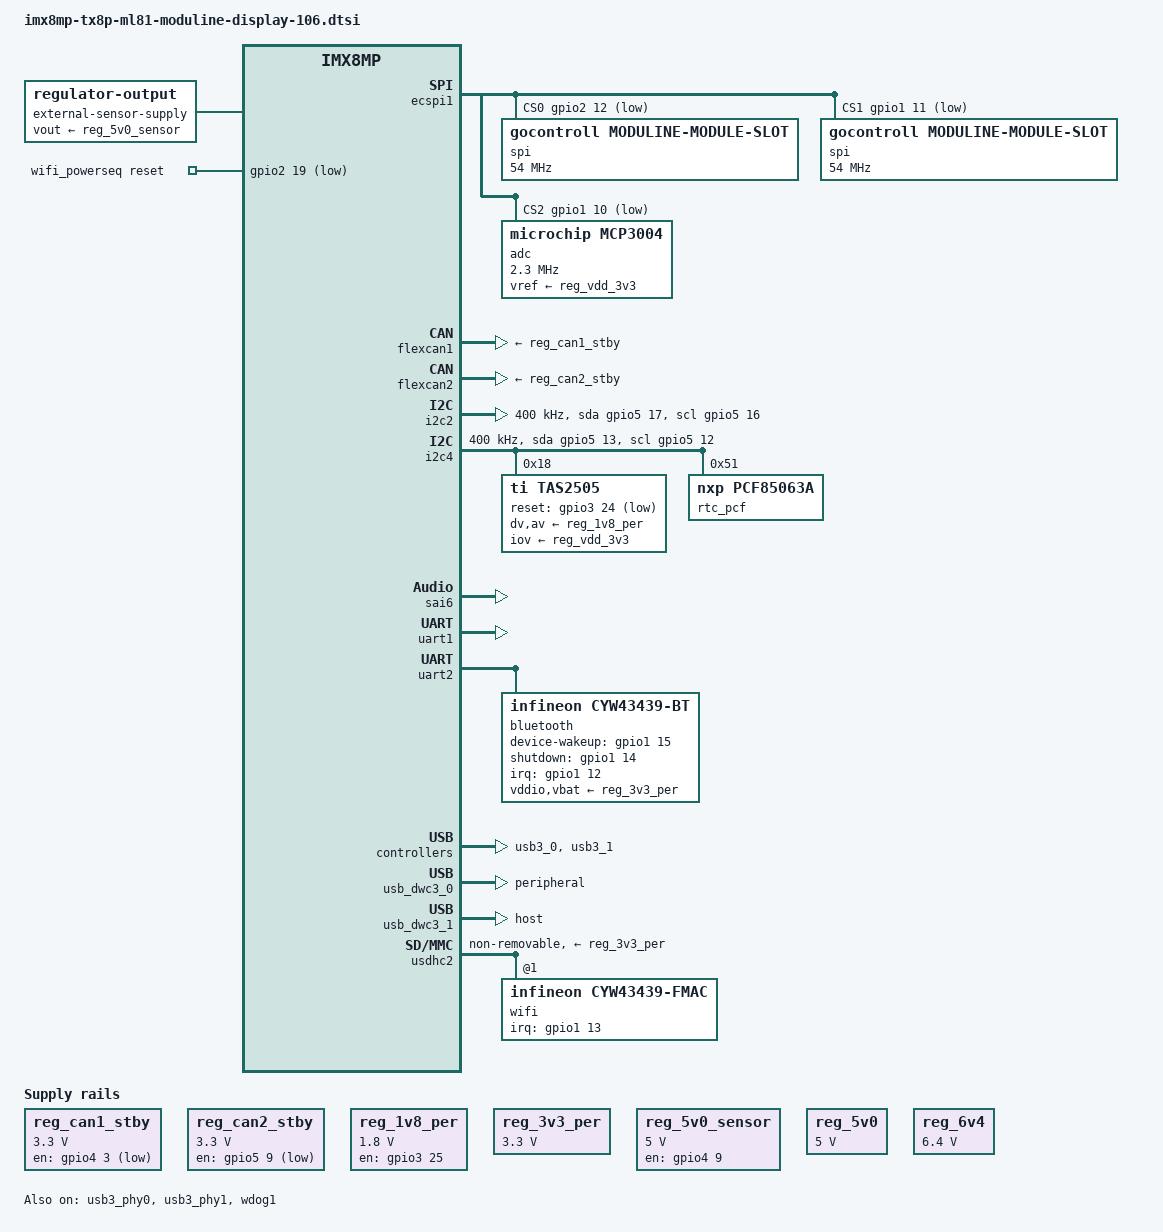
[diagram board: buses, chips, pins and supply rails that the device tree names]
// SPDX-License-Identifier: (GPL-2.0 OR MIT)
/*
 * Copyright 2025 GOcontroll B.V.
 * Author: Maud Spierings <maudspierings@gocontroll.com>
 */

#include "imx8mp-tx8p-ml81.dtsi"

/ {
	chassis-type = "embedded";
	compatible = "gocontroll,moduline-display", "fsl,imx8mp";
	hardware =  "Moduline Display V1.06";

	aliases {
		ethernet0 = &eqos;
		mmc0 = &usdhc3;
		mmc1 = &usdhc2;
		spi0 = &ecspi2; /* spidev number compatibility */
		spi1 = &ecspi1; /* spidev number compatibility */
		can0 = &flexcan1;
		can1 = &flexcan2;
		rtc0 = &rtc_pcf; /* i2c rtc is the main rtc */
		rtc1 = &snvs_rtc;
	};

	chosen {
		stdout-path = "serial0:115200n8";
	};

	external-sensor-supply {
		compatible = "regulator-output";
		vout-supply = <&reg_5v0_sensor>;
	};

	reg_can1_stby: regulator-can1-stby {
		compatible = "regulator-fixed";
		regulator-name = "can1-stby";
		pinctrl-names = "default";
		pinctrl-0 = <&pinctrl_flexcan1_reg>;
		regulator-min-microvolt = <3300000>;
		regulator-max-microvolt = <3300000>;
		gpio = <&gpio4 3 GPIO_ACTIVE_LOW>;
	};

	reg_can2_stby: regulator-can2-stby {
		compatible = "regulator-fixed";
		regulator-name = "can2-stby";
		pinctrl-names = "default";
		pinctrl-0 = <&pinctrl_flexcan2_reg>;
		regulator-min-microvolt = <3300000>;
		regulator-max-microvolt = <3300000>;
		gpio = <&gpio5 9 GPIO_ACTIVE_LOW>;
	};

	reg_1v8_per: regulator-1v8-per {
		compatible = "regulator-fixed";
		regulator-name = "1v8-per";
		regulator-min-microvolt = <1800000>;
		regulator-max-microvolt = <1800000>;
		pinctrl-names = "default";
		pinctrl-0 = <&pinctrl_reg_1v8>;
		gpio = <&gpio3 25 GPIO_ACTIVE_HIGH>;
		enable-active-high;
		power-supply = <&reg_3v3_per>;
	};

	reg_3v3_per: regulator-3v3-per {
		compatible = "regulator-fixed";
		regulator-name = "3v3-per";
		regulator-min-microvolt = <3300000>;
		regulator-max-microvolt = <3300000>;
		regulator-always-on;
		power-supply = <&reg_6v4>;
	};

	reg_5v0_sensor: regulator-5v0-sensor {
		compatible = "regulator-fixed";
		regulator-name = "5v0-supply-external-sensor";
		regulator-min-microvolt = <5000000>;
		regulator-max-microvolt = <5000000>;
		pinctrl-names = "default";
		pinctrl-0 = <&pinctrl_reg_5v0_sensor>;
		gpio = <&gpio4 9 GPIO_ACTIVE_HIGH>;
		enable-active-high;
	};

	reg_5v0: regulator-5v0 {
		compatible = "regulator-fixed";
		regulator-name = "5v0";
		regulator-min-microvolt = <5000000>;
		regulator-max-microvolt = <5000000>;
		regulator-always-on;
		power-supply = <&reg_6v4>;
	};

	reg_6v4: regulator-6v4 {
		compatible = "regulator-fixed";
		regulator-name = "6v4";
		regulator-min-microvolt = <6400000>;
		regulator-max-microvolt = <6400000>;
		regulator-always-on;
	};

	sound {
		compatible = "simple-audio-card";
		simple-audio-card,name = "tas2505-audio";
		simple-audio-card,format = "i2s";
		simple-audio-card,frame-master = <&cpudai>;
		simple-audio-card,bitclock-master = <&cpudai>;
		simple-audio-card,widgets =
		"Speaker", "Speaker External";
		simple-audio-card,routing =
		"Speaker", "DAC";

		cpudai: simple-audio-card,cpu {
			sound-dai = <&sai6>;
		};

		simple-audio-card,codec {
			sound-dai = <&tas2505>;
		};
	};

	wifi_powerseq: wifi-powerseq {
		compatible = "mmc-pwrseq-simple";
		pinctrl-names = "default";
		pinctrl-0 = <&pinctrl_wl_reg>;
		post-power-on-delay-ms = <100>;
		power-off-delay-us = <500000>;
		reset-gpios = <&gpio2 19 GPIO_ACTIVE_LOW>;
	};
};

&ecspi1 {
	pinctrl-names = "default";
	pinctrl-0 = <&pinctrl_ecspi1>;
	cs-gpios = <
	&gpio2 12 GPIO_ACTIVE_LOW
	&gpio1 11 GPIO_ACTIVE_LOW
	&gpio1 10 GPIO_ACTIVE_LOW
	>;
	status = "okay";

	/* Module slot 1 */
	spi@0 {
		compatible = "gocontroll,moduline-module-slot";
		reg = <0>;
		spi-max-frequency = <54000000>;
	};

	/* Module slot 2 */
	spi@1 {
		compatible = "gocontroll,moduline-module-slot";
		reg = <1>;
		spi-max-frequency = <54000000>;
	};

	adc@2 {
		compatible = "microchip,mcp3004";
		reg = <2>;
		spi-max-frequency = <2300000>;
		vref-supply = <&reg_vdd_3v3>;
	};
};

&flexcan1 {
	pinctrl-names = "default";
	pinctrl-0 = <&pinctrl_flexcan1>;
	xceiver-supply = <&reg_can1_stby>;
	status = "okay";
};

&flexcan2 {
	pinctrl-names = "default";
	pinctrl-0 = <&pinctrl_flexcan2>;
	xceiver-supply = <&reg_can2_stby>;
	status = "okay";
};

/* I2C2 bus to modules */
&i2c2 {
	clock-frequency = <400000>;
	pinctrl-names = "default", "gpio";
	pinctrl-0 = <&pinctrl_i2c2>;
	pinctrl-1 = <&pinctrl_i2c2_gpio>;
	sda-gpios = <&gpio5 17 (GPIO_ACTIVE_HIGH | GPIO_OPEN_DRAIN)>;
	scl-gpios = <&gpio5 16 (GPIO_ACTIVE_HIGH | GPIO_OPEN_DRAIN)>;
	status = "okay";
};

&i2c4 {
	clock-frequency = <400000>;
	pinctrl-names = "default", "gpio";
	pinctrl-0 = <&pinctrl_i2c4>;
	pinctrl-1 = <&pinctrl_i2c4_gpio>;
	sda-gpios = <&gpio5 13 (GPIO_ACTIVE_HIGH | GPIO_OPEN_DRAIN)>;
	scl-gpios = <&gpio5 12 (GPIO_ACTIVE_HIGH | GPIO_OPEN_DRAIN)>;
	status = "okay";

	tas2505: tas2505@18 {
		compatible = "ti,tas2505";
		reg = <0x18>;
		pinctrl-names = "default";
		pinctrl-0 = <&pinctrl_tas_reset>;
		reset-gpios = <&gpio3 24 GPIO_ACTIVE_LOW>;
		#sound-dai-cells = <0>;

		dv-supply = <&reg_1v8_per>;
		iov-supply = <&reg_vdd_3v3>;
		av-supply = <&reg_1v8_per>;

		clocks = <&clk IMX8MP_CLK_AUDIOMIX_SAI6_MCLK1>;
		clock-names = "mclk";
		aic32x4-gpio-func= <
			0xff
			0xff
			0xff
			0xff
			0xff
		>;
	};

	rtc_pcf: rtc@51 {
		compatible = "nxp,pcf85063a";
		reg = <0x51>;
		quartz-load-femtofarads = <7000>;

		clock {
			compatible = "fixed-clock";
			#clock-cells = <0>;
			clock-frequency = <32768>;
		};
	};
};

/* tas2505 */
&sai6 {
	pinctrl-names = "default";
	pinctrl-0 = <&pinctrl_sai6>;
	status = "okay";
	assigned-clocks = <&clk IMX8MP_CLK_SAI6>;
	assigned-clock-parents = <&clk IMX8MP_AUDIO_PLL1_OUT>;
	assigned-clock-rates = <12288000>;
	fsl,sai-mclk-direction-output;
};

/* debug/external */
&uart1 {
	pinctrl-names = "default";
	pinctrl-0 = <&pinctrl_uart1>;
	status = "okay";
};

&uart2 {
	pinctrl-names = "default";
	pinctrl-0 = <&pinctrl_uart2>;
	uart-has-rtscts;
	status = "okay";

	/* muRata 1YN/1DX */
	bluetooth {
		compatible = "infineon,cyw43439-bt", "brcm,bcm4329-bt";
		max-speed = <921600>;
		pinctrl-names = "default";
		pinctrl-0 = <&pinctrl_bt>;
		device-wakeup-gpios = <&gpio1 15 GPIO_ACTIVE_HIGH>;
		shutdown-gpios = <&gpio1 14 GPIO_ACTIVE_HIGH>;
		interrupt-parent = <&gpio1>;
		interrupts = <12 IRQ_TYPE_EDGE_FALLING>;
		interrupt-names = "host-wakeup";
		vddio-supply = <&reg_3v3_per>;
		vbat-supply = <&reg_3v3_per>;
	};
};

&usb3_0 {
	status = "okay";
};

&usb3_1 {
	status = "okay";
};

&usb3_phy0 {
	status = "okay";
};

&usb3_phy1 {
	status = "okay";
};

&usb_dwc3_0 {
	dr_mode = "peripheral";
};

&usb_dwc3_1 {
	dr_mode = "host";
};

&usdhc2 {
	max-frequency = <50000000>;
	assigned-clocks = <&clk IMX8MP_CLK_USDHC2>;
	assigned-clock-rates = <50000000>;
	#address-cells = <1>;
	#size-cells = <0>;
	pinctrl-names = "default";
	pinctrl-0 = <&pinctrl_usdhc2>;
	mmc-pwrseq = <&wifi_powerseq>;
	vmmc-supply = <&reg_3v3_per>;

	cap-power-off-card;
	keep-power-in-suspend;
	non-removable;
	sd-uhs-sdr25;

	status = "okay";

	/* muRata 1YN/1DX */
	wifi@1 {
		compatible = "infineon,cyw43439-fmac", "brcm,bcm4329-fmac";
		reg = <1>;
		brcm,board-type = "GOcontroll,moduline";
		pinctrl-names = "default";
		pinctrl-0 = <&pinctrl_wl_int>;
		interrupt-parent = <&gpio1>;
		interrupts = <13 IRQ_TYPE_LEVEL_LOW>;
		interrupt-names = "host-wake";
	};
};

&wdog1 {
	pinctrl-names = "default";
	pinctrl-0 = <&pinctrl_wdog>;
	fsl,ext-reset-output;
	status = "okay";
};

&iomuxc {
	pinctrl_reg_1v8: reg-1v8-grp {
		fsl,pins = <
			MX8MP_IOMUXC_SAI5_MCLK__GPIO3_IO25 /* COM pin 144 */
			MX8MP_DSE_X1
		>;
	};

	pinctrl_reg_5v0_sensor: reg-5v0-sensorgrp {
		fsl,pins = <
			MX8MP_IOMUXC_SAI1_RXD7__GPIO4_IO09 /* COM pin 108 */
			MX8MP_DSE_X1
		>;
	};

	pinctrl_tas_reset: tasresetgrp {
		fsl,pins = <
			MX8MP_IOMUXC_SAI5_RXD3__GPIO3_IO24 /* COM pin 143 */
			MX8MP_DSE_X1
		>;
	};

	pinctrl_bt: btgrp {
		fsl,pins = <
			MX8MP_IOMUXC_GPIO1_IO14__GPIO1_IO14 /* COM pin 27 */
			MX8MP_DSE_X1
			MX8MP_IOMUXC_GPIO1_IO12__GPIO1_IO12 /* COM pin 34 */
			(MX8MP_PULL_UP | MX8MP_PULL_ENABLE | MX8MP_HYS_SCHMITT)
			MX8MP_IOMUXC_GPIO1_IO15__GPIO1_IO15 /* COM pin 28 */
			MX8MP_DSE_X1
		>;
	};

	pinctrl_ecspi1: ecspi1grp {
		fsl,pins = <
		MX8MP_IOMUXC_ECSPI1_MOSI__ECSPI1_MOSI /* COM pin 46 */
		MX8MP_DSE_X4
		MX8MP_IOMUXC_ECSPI1_MISO__ECSPI1_MISO /* COM pin 47 */
		(MX8MP_DSE_X4 | MX8MP_HYS_SCHMITT)
		MX8MP_IOMUXC_ECSPI1_SCLK__ECSPI1_SCLK /* COM pin 48 */
		MX8MP_DSE_X4
		MX8MP_IOMUXC_SD2_CD_B__GPIO2_IO12 /* COM pin 51 */
		MX8MP_DSE_X1
		MX8MP_IOMUXC_GPIO1_IO11__GPIO1_IO11 /* COM pin 162 */
		MX8MP_DSE_X1
		MX8MP_IOMUXC_GPIO1_IO10__GPIO1_IO10 /* COM pin 161 */
		MX8MP_DSE_X1
		>;
	};

	pinctrl_flexcan1: flexcan1grp {
		fsl,pins = <
			 MX8MP_IOMUXC_SPDIF_RX__CAN1_RX /* COM pin 81 */
			 (MX8MP_DSE_X2 | MX8MP_FSEL_FAST | MX8MP_PULL_UP | MX8MP_PULL_ENABLE)
			 MX8MP_IOMUXC_SPDIF_TX__CAN1_TX /* COM pin 76 */
			 (MX8MP_DSE_X2 | MX8MP_FSEL_FAST | MX8MP_PULL_UP | MX8MP_PULL_ENABLE)
		>;
	};

	pinctrl_flexcan1_reg: flexcan1reggrp {
		fsl,pins = <
			MX8MP_IOMUXC_SAI1_RXD1__GPIO4_IO03 /* COM pin 101 */
			(MX8MP_DSE_X2 | MX8MP_FSEL_FAST | MX8MP_PULL_UP | MX8MP_PULL_ENABLE)
		>;
	};

	pinctrl_flexcan2: flexcan2grp {
		fsl,pins = <
			 MX8MP_IOMUXC_UART3_TXD__CAN2_RX /* COM pin 61 */
			 (MX8MP_DSE_X2 | MX8MP_FSEL_FAST | MX8MP_PULL_UP | MX8MP_PULL_ENABLE)
			 MX8MP_IOMUXC_UART3_RXD__CAN2_TX /* COM pin 62 */
			 (MX8MP_DSE_X2 | MX8MP_FSEL_FAST | MX8MP_PULL_UP | MX8MP_PULL_ENABLE)
		>;
	};

	pinctrl_flexcan2_reg: flexcan2reggrp {
		fsl,pins = <
			MX8MP_IOMUXC_ECSPI1_SS0__GPIO5_IO09 /* COM pin 44 */
			(MX8MP_DSE_X2 | MX8MP_FSEL_FAST | MX8MP_PULL_UP | MX8MP_PULL_ENABLE)
		>;
	};

	pinctrl_i2c2: i2c2grp {
		fsl,pins = <
			MX8MP_IOMUXC_I2C2_SCL__I2C2_SCL /* COM pin 41 */
			(MX8MP_DSE_X6 | MX8MP_PULL_UP | MX8MP_HYS_SCHMITT | MX8MP_PULL_ENABLE | MX8MP_SION)
			MX8MP_IOMUXC_I2C2_SDA__I2C2_SDA /* COM pin 40 */
			(MX8MP_DSE_X6 | MX8MP_PULL_UP | MX8MP_HYS_SCHMITT | MX8MP_PULL_ENABLE | MX8MP_SION)
		>;
	};

	pinctrl_i2c2_gpio: i2c2-gpiogrp {
		fsl,pins = <
			MX8MP_IOMUXC_I2C2_SCL__GPIO5_IO16 /* COM pin 41 */
			(MX8MP_DSE_X6 | MX8MP_PULL_UP | MX8MP_HYS_SCHMITT | MX8MP_PULL_ENABLE | MX8MP_SION)
			MX8MP_IOMUXC_I2C2_SDA__GPIO5_IO17 /* COM pin 40 */
			(MX8MP_DSE_X6 | MX8MP_PULL_UP | MX8MP_HYS_SCHMITT | MX8MP_PULL_ENABLE | MX8MP_SION)
		>;
	};

	pinctrl_i2c4: i2c4grp {
		fsl,pins = <
			MX8MP_IOMUXC_ECSPI2_MISO__I2C4_SCL /* COM pin 70 */
			(MX8MP_DSE_X6 | MX8MP_PULL_UP | MX8MP_HYS_SCHMITT | MX8MP_PULL_ENABLE | MX8MP_SION)
			MX8MP_IOMUXC_ECSPI2_SS0__I2C4_SDA /* COM pin 69 */
			(MX8MP_DSE_X6 | MX8MP_PULL_UP | MX8MP_HYS_SCHMITT | MX8MP_PULL_ENABLE | MX8MP_SION)
		>;
	};

	pinctrl_i2c4_gpio: i2c4-gpiogrp {
		fsl,pins = <
			MX8MP_IOMUXC_ECSPI2_MISO__GPIO5_IO12 /* COM pin 70 */
			(MX8MP_DSE_X4 | MX8MP_PULL_UP | MX8MP_HYS_SCHMITT | MX8MP_PULL_ENABLE | MX8MP_SION)
			MX8MP_IOMUXC_ECSPI2_SS0__GPIO5_IO13 /* COM pin 69 */
			(MX8MP_DSE_X4 | MX8MP_PULL_UP | MX8MP_HYS_SCHMITT | MX8MP_PULL_ENABLE | MX8MP_SION)
		>;
	};

	pinctrl_sai6: sai6grp {
		fsl,pins = <
			MX8MP_IOMUXC_SAI1_TXD6__AUDIOMIX_SAI6_TX_SYNC /* COM pin 95 */
			(MX8MP_DSE_X6 | MX8MP_FSEL_FAST | MX8MP_PULL_UP | MX8MP_HYS_SCHMITT)
			MX8MP_IOMUXC_SAI1_RXD4__AUDIOMIX_SAI6_TX_BCLK /* COM pin 105 */
			(MX8MP_DSE_X6 | MX8MP_FSEL_FAST | MX8MP_PULL_UP | MX8MP_HYS_SCHMITT)
			MX8MP_IOMUXC_SAI1_TXD5__AUDIOMIX_SAI6_TX_DATA00 /* COM pin 110 */
			(MX8MP_DSE_X6 | MX8MP_FSEL_FAST | MX8MP_PULL_UP | MX8MP_HYS_SCHMITT)
			MX8MP_IOMUXC_SAI1_TXD7__AUDIOMIX_SAI6_MCLK /* COM pin 96 */
			(MX8MP_DSE_X6 | MX8MP_FSEL_FAST | MX8MP_PULL_UP | MX8MP_HYS_SCHMITT)
			MX8MP_IOMUXC_SAI1_RXD5__AUDIOMIX_SAI6_RX_DATA00 /* COM pin 106 */
			(MX8MP_DSE_X6 | MX8MP_FSEL_FAST | MX8MP_PULL_UP | MX8MP_HYS_SCHMITT)
		>;
	};

	pinctrl_uart1: uart1grp {
		fsl,pins = <
			MX8MP_IOMUXC_UART1_RXD__UART1_DCE_RX /* COM pin 60 */
			(MX8MP_PULL_UP | MX8MP_PULL_ENABLE)
			MX8MP_IOMUXC_UART1_TXD__UART1_DCE_TX /* COM pin 59 */
			(MX8MP_PULL_UP | MX8MP_PULL_ENABLE)
		>;
	};

	pinctrl_uart2: uart2grp {
		fsl,pins = <
			MX8MP_IOMUXC_UART2_RXD__UART2_DCE_RX /* COM pin 64 */
			(MX8MP_PULL_UP | MX8MP_PULL_ENABLE)
			MX8MP_IOMUXC_UART2_TXD__UART2_DCE_TX /* COM pin 63 */
			(MX8MP_PULL_UP | MX8MP_PULL_ENABLE)
			MX8MP_IOMUXC_SAI3_RXD__UART2_DCE_RTS /* COM pin 65 */
			(MX8MP_PULL_UP | MX8MP_PULL_ENABLE)
			MX8MP_IOMUXC_SAI3_RXC__UART2_DCE_CTS /* COM pin 66 */
			(MX8MP_PULL_UP | MX8MP_PULL_ENABLE)
		>;
	};

	pinctrl_usdhc2: pinctrlusdhc2grp {
		fsl,pins = <
			MX8MP_IOMUXC_SD2_CLK__USDHC2_CLK /* COM pin 57 */
			(MX8MP_DSE_X2 | MX8MP_FSEL_FAST | MX8MP_PULL_ENABLE)
			MX8MP_IOMUXC_SD2_CMD__USDHC2_CMD /* COM pin 56 */
			(MX8MP_DSE_X2 | MX8MP_FSEL_FAST | MX8MP_PULL_UP | MX8MP_HYS_SCHMITT | MX8MP_PULL_ENABLE)
			MX8MP_IOMUXC_SD2_DATA0__USDHC2_DATA0 /* COM pin 52 */
			(MX8MP_DSE_X2 | MX8MP_FSEL_FAST | MX8MP_PULL_UP | MX8MP_HYS_SCHMITT | MX8MP_PULL_ENABLE)
			MX8MP_IOMUXC_SD2_DATA1__USDHC2_DATA1 /* COM pin 53 */
			(MX8MP_DSE_X2 | MX8MP_FSEL_FAST | MX8MP_PULL_UP | MX8MP_HYS_SCHMITT | MX8MP_PULL_ENABLE)
			MX8MP_IOMUXC_SD2_DATA2__USDHC2_DATA2 /* COM pin 54 */
			(MX8MP_DSE_X2 | MX8MP_FSEL_FAST | MX8MP_PULL_UP | MX8MP_HYS_SCHMITT | MX8MP_PULL_ENABLE)
			MX8MP_IOMUXC_SD2_DATA3__USDHC2_DATA3 /* COM pin 55 */
			(MX8MP_DSE_X2 | MX8MP_FSEL_FAST | MX8MP_PULL_UP | MX8MP_HYS_SCHMITT | MX8MP_PULL_ENABLE)
		>;
	};

	pinctrl_wdog: wdoggrp {
		fsl,pins = <
			MX8MP_IOMUXC_GPIO1_IO02__WDOG1_WDOG_B /* COM pin 153 */
			(MX8MP_DSE_X6 | MX8MP_PULL_UP | MX8MP_HYS_SCHMITT)
		>;
	};

	pinctrl_wl_int: wlintgrp {
		fsl,pins = <
			MX8MP_IOMUXC_GPIO1_IO13__GPIO1_IO13 /* COM pin 36 */
			(MX8MP_PULL_UP | MX8MP_HYS_SCHMITT | MX8MP_PULL_ENABLE)
		>;
	};

	pinctrl_wl_reg: wlreggrp {
		fsl,pins = <
			MX8MP_IOMUXC_SD2_RESET_B__GPIO2_IO19 /* COM pin 15 */
			MX8MP_DSE_X1
		>;
	};
};
